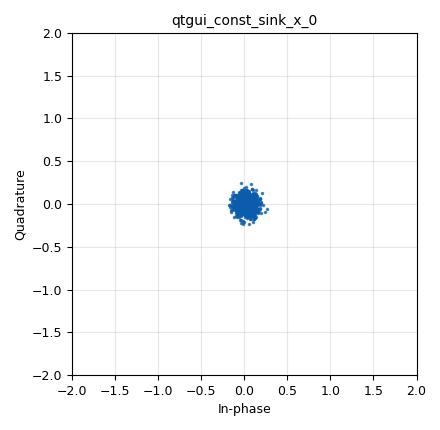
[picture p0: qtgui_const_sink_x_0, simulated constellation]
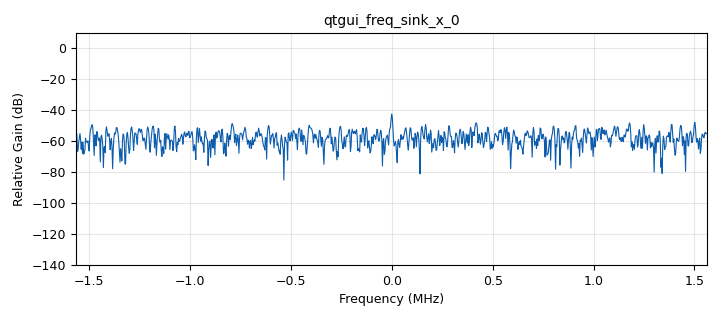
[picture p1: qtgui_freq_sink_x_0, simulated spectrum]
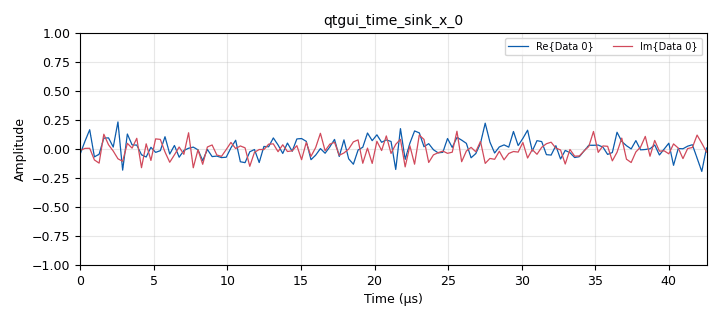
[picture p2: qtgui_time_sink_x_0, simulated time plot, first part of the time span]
options:
  parameters:
    author: H1_G6
    copyright: UIS
    generate_options: qt_gui
    id: ASK
    output_language: python
    title: ModulacionASK3
  states: {}

blocks:
- name: Ac
  id: variable_qtgui_range
  parameters:
    label: Coeficiente
    start: '0'
    step: '0.1'
    stop: '2'
    value: '0.1'
  states: {}
- name: B
  id: variable_qtgui_range
  parameters:
    label: '# Muestras por simbolo'
    start: '1'
    step: '1'
    stop: '20'
    value: '2'
  states: {}
- name: DC
  id: variable_qtgui_range
  parameters:
    label: Nivel de señal modulante
    start: '-8'
    step: '0.1'
    stop: '8'
    value: '0'
  states: {}
- name: GTX
  id: variable_qtgui_range
  parameters:
    label: Ganancia del Transmisor
    start: '0'
    step: '1'
    stop: '30'
    value: '0'
  states: {}
- name: 'No'
  id: variable_qtgui_range
  parameters:
    label: Amplitud RUIDO
    start: '0'
    step: '0.01'
    stop: '0.3'
    value: '0.1'
  states: {}
- name: fc
  id: variable_qtgui_range
  parameters:
    label: Frecuencia de Portadora
    start: 50e6
    step: 1e6
    stop: 2.2e9
    value: 50e6
  states: {}
- name: ka
  id: variable_qtgui_range
  parameters:
    start: '0'
    step: '0.1'
    stop: '2'
    value: '0.1'
  states: {}
- name: n
  id: variable_qtgui_range
  parameters:
    label: '# Niveles por muestra'
    start: '1'
    step: '1'
    stop: '4'
    value: '2'
  states: {}
- name: samp_rate
  id: variable
  parameters:
    value: 12500000/4
  states: {}
- name: analog_noise_source_x_0
  id: analog_noise_source_x
  parameters:
    amp: 'No'
    noise_type: analog.GR_GAUSSIAN
    seed: '0'
    type: complex
  states: {}
- name: analog_random_source_x_0
  id: analog_random_source_x
  parameters:
    max: 2**n
    min: '0'
    num_samps: '1000'
    repeat: 'True'
    type: byte
  states: {}
- name: blocks_add_const_vxx_0
  id: blocks_add_const_vxx
  parameters:
    const: DC
    type: float
  states: {}
- name: blocks_add_xx_0
  id: blocks_add_xx
  parameters:
    type: complex
  states: {}
- name: blocks_float_to_complex_0
  id: blocks_float_to_complex
  parameters: {}
  states: {}
- name: blocks_multiply_const_vxx_0
  id: blocks_multiply_const_vxx
  parameters:
    const: ka
    type: float
  states: {}
- name: blocks_multiply_const_vxx_1
  id: blocks_multiply_const_vxx
  parameters:
    const: Ac
    type: complex
  states: {}
- name: blocks_null_source_0
  id: blocks_null_source
  parameters:
    type: float
  states: {}
- name: blocks_repeat_0
  id: blocks_repeat
  parameters:
    interp: B
    type: float
  states: {}
- name: blocks_uchar_to_float_0
  id: blocks_uchar_to_float
  parameters: {}
  states: {}
- name: qtgui_const_sink_x_0
  id: qtgui_const_sink_x
  parameters:
    size: '1024'
    type: complex
  states: {}
- name: qtgui_freq_sink_x_0
  id: qtgui_freq_sink_x
  parameters:
    bw: samp_rate
    fc: '0'
    fftsize: '1024'
    type: complex
  states: {}
- name: qtgui_time_sink_x_0
  id: qtgui_time_sink_x
  parameters:
    size: 1024*8
    srate: samp_rate
    type: complex
  states: {}
- name: uhd_usrp_sink_0
  id: uhd_usrp_sink
  parameters:
    ant0: TX/RX
    center_freq0: fc
    dev_args: '""'
    gain0: GTX
    len_tag_name: ''
    samp_rate: samp_rate
    sync: pc_clock
    type: fc32
  states: {}
- name: virtual_sink_0
  id: virtual_sink
  parameters:
    stream_id: m_t
  states: {}
- name: virtual_sink_1
  id: virtual_sink
  parameters:
    stream_id: g(t)
  states: {}
- name: virtual_source_0
  id: virtual_source
  parameters:
    stream_id: m_t
  states: {}
- name: virtual_source_1
  id: virtual_source
  parameters:
    stream_id: g(t)
  states: {}

connections:
- [analog_noise_source_x_0, '0', blocks_add_xx_0, '1']
- [analog_random_source_x_0, '0', blocks_uchar_to_float_0, '0']
- [blocks_add_const_vxx_0, '0', blocks_float_to_complex_0, '0']
- [blocks_add_xx_0, '0', qtgui_const_sink_x_0, '0']
- [blocks_add_xx_0, '0', qtgui_freq_sink_x_0, '0']
- [blocks_add_xx_0, '0', qtgui_time_sink_x_0, '0']
- [blocks_add_xx_0, '0', uhd_usrp_sink_0, '0']
- [blocks_float_to_complex_0, '0', blocks_multiply_const_vxx_1, '0']
- [blocks_multiply_const_vxx_0, '0', blocks_add_const_vxx_0, '0']
- [blocks_multiply_const_vxx_1, '0', virtual_sink_1, '0']
- [blocks_null_source_0, '0', blocks_float_to_complex_0, '1']
- [blocks_repeat_0, '0', virtual_sink_0, '0']
- [blocks_uchar_to_float_0, '0', blocks_repeat_0, '0']
- [virtual_source_0, '0', blocks_multiply_const_vxx_0, '0']
- [virtual_source_1, '0', blocks_add_xx_0, '0']

metadata:
  file_format: 1
